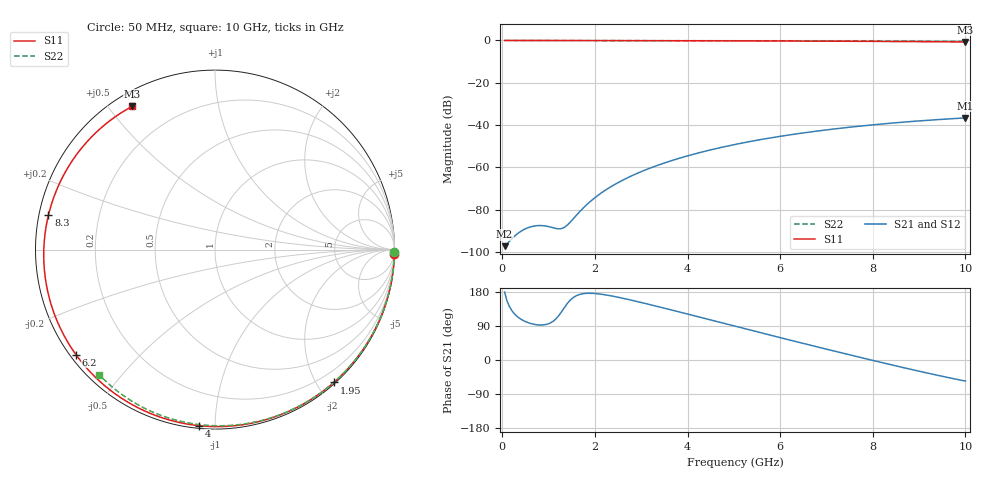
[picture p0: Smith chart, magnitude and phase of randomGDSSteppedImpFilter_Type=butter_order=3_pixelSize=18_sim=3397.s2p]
! freq	dB(S11)	phase(S11)	dB(S12)	phase(S12)
!  dB(S21)	phase(S21)	dB(S22)	phase(S22)
!S-par simulation data
#  GHz  S  DB  R 50
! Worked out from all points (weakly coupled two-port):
!   200 points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, 50 MHz to 10 GHz, reference 50 ohm
!   highest |S21| = -36.59 dB at 10 GHz (marker M1); lowest = -97.2 dB at 50 MHz (marker M2)
!   lowest |S11| = -0.7 dB at 10 GHz (marker M3), VSWR 24.56, Z = 2.71 + j28.8 ohm
!   |S11| at or under -10 dB: nowhere
!   |S22| runs from -0.4 to 0.0 dB; largest |S21 - S12| = 0
!   S11 on the Smith chart (normalised r, x): 50 MHz: 0, -91; 1.95 GHz: 0.02, -2.24; 4 GHz: 0.01, -0.91; 6.2 GHz: 0.02, -0.33; 8.3 GHz: 0.03, +0.10; 10 GHz: 0.05, +0.58
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0.05  -0.00 -1.3  -97.23 179.2  -97.23 179.2  -0.00 -0.8
0.85  -0.02 -21.4  -87.50 92.4  -87.50 92.4  -0.01 -13.0
1.7  -0.05 -42.2  -80.26 173.9  -80.26 173.9  -0.03 -25.7
1.75  -0.06 -43.4  -79.15 175.1  -79.15 175.1  -0.03 -26.5
1.95  -0.06 -48.2  -75.18 175.9  -75.18 175.9  -0.04 -29.4
2.25  -0.07 -55.3  -70.42 171.5  -70.42 171.5  -0.04 -33.9
2.55  -0.08 -62.4  -66.60 164.4  -66.60 164.4  -0.05 -38.2
2.95  -0.09 -71.7  -62.46 153.2  -62.46 153.2  -0.06 -44.0
3.4  -0.11 -81.9  -58.66 139.8  -58.66 139.8  -0.07 -50.4
4  -0.13 -95.3  -54.55 121.3  -54.55 121.3  -0.08 -58.8
4.5  -0.15 -106.2  -51.71 105.7  -51.71 105.7  -0.09 -65.6
5.05  -0.18 -118.1  -49.05 88.5  -49.05 88.5  -0.11 -73.0
5.6  -0.21 -130.0  -46.77 71.4  -46.77 71.4  -0.13 -80.1
6.2  -0.26 -143.0  -44.64 52.9  -44.64 52.9  -0.16 -87.8
6.7  -0.30 -153.9  -43.10 37.6  -43.10 37.6  -0.18 -94.0
7.55  -0.38 -173.3  -40.88 12.2  -40.88 12.2  -0.23 -104.4
8.3  -0.47 168.4  -39.27 -9.8  -39.27 -9.8  -0.29 -113.2
8.35  -0.47 167.1  -39.17 -11.2  -39.17 -11.2  -0.29 -113.8
8.8  -0.53 155.3  -38.36 -24.0  -38.36 -24.0  -0.33 -119.1
9.2  -0.59 144.2  -37.71 -35.1  -37.71 -35.1  -0.36 -123.7
9.6  -0.64 132.4  -37.13 -45.6  -37.13 -45.6  -0.41 -128.3
10  -0.71 120.0  -36.59 -55.6  -36.59 -55.6  -0.45 -132.9
